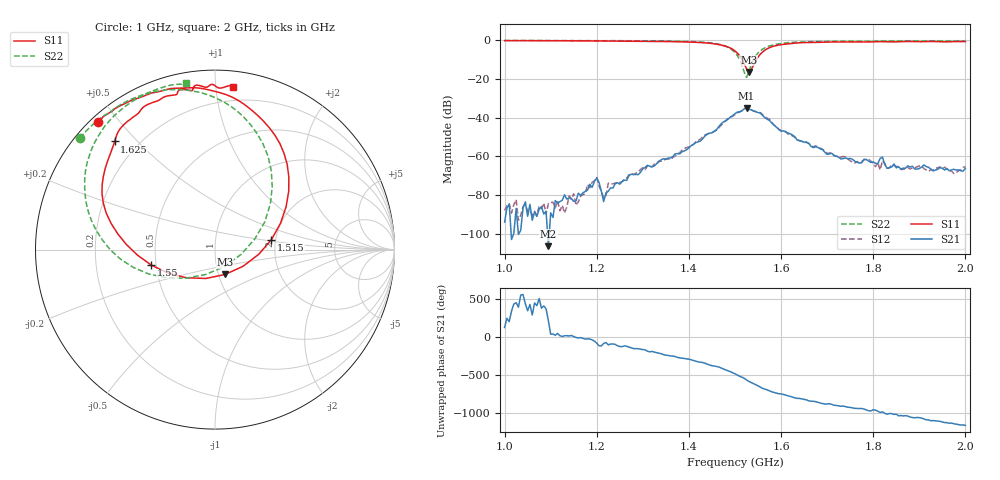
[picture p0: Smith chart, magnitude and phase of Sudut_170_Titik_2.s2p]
# Hz S RI R 50
! CMT, C1220, 16058040, 17.2.0/1
! Date: 14/08/2018 12:47:22
! Data: Format (Calibration Info)
! Freq  S11: Re/Im (F2)  S21: Re/Im (F2)  S12: Re/Im (F2)  S22: Re/Im (F2)
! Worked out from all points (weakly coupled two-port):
!   201 points, 1 GHz to 2 GHz, reference 50 ohm
!   highest |S21| = -35.05 dB at 1.525 GHz (marker M1); lowest = -106.3 dB at 1.095 GHz (marker M2)
!   lowest |S11| = -16.5 dB at 1.53 GHz (marker M3), VSWR 1.35, Z = 53.7 - j15.2 ohm
!   |S11| at or under -10 dB: 1.515 GHz to 1.547 GHz (31.54 MHz wide, 2.06 % of centre)
!   |S22| runs from -19.3 to -0.2 dB; largest |S21 - S12| = 0.00074
!   S11 on the Smith chart (normalised r, x): 1 GHz: 0.02, +0.44; 1.515 GHz: 1.90, +0.24; 1.55 GHz: 0.47, -0.09; 1.625 GHz: 0.12, +0.43; 2 GHz: 0.10, +1.11
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1e9  -0.6516 0.7135  -1.27e-05 1.56e-05  3.4e-05 -2.19e-05  -0.7539 0.6215
1.095e9  -0.5623 0.7815  -3.79e-06 -3.01e-06  4.52e-05 4.11e-05  -0.6858 0.692
1.17e9  -0.4814 0.824  0.000111 -2.76e-05  9.96e-05 -2.86e-05  -0.6184 0.7467
1.2e9  -0.4393 0.8406  6.05e-05 -0.00027  3.73e-05 -0.000283  -0.5851 0.7599
1.22e9  -0.4171 0.8479  4.05e-05 -0.000107  1.49e-05 -9.56e-05  -0.574 0.7739
1.225e9  -0.4087 0.8508  -1.97e-05 -0.000124  1.53e-05 -0.000202  -0.5689 0.779
1.335e9  -0.2193 0.8985  -0.000634 0.000358  -0.000635 0.00042  -0.4042 0.8616
1.45e9  0.1834 0.7938  0.00394 -0.000976  0.00393 -0.00121  0.0192 0.8376
1.5e9  0.4108 0.3258  -0.00619 -0.011  -0.00588 -0.0104  0.3189 0.3518
1.515e9  0.3148 0.0558  -0.0143 -0.00423  -0.0143 -0.00463  0.221 0.0582
1.525e9  0.1564 -0.0929  -0.0165 0.00635  -0.0167 0.0063  0.0527 -0.0947
1.53e9  0.0564 -0.1384  -0.0125 0.0104  -0.0127 0.0104  -0.0539 -0.1391
1.55e9  -0.3541 -0.0869  0.00191 0.0133  0.00137 0.0134  -0.4546 -0.0998
1.58e9  -0.6222 0.2584  0.00723 0.00034  0.00749 3.12e-05  -0.7054 0.2105
1.625e9  -0.5592 0.6025  0.00138 -0.00327  0.00143 -0.00307  -0.7025 0.5167
1.67e9  -0.4453 0.7452  -0.000876 -0.00144  -0.000897 -0.00153  -0.6281 0.6676
1.77e9  -0.2391 0.8598  -0.000548 0.000393  -0.000574 0.000371  -0.472 0.8181
1.815e9  -0.184 0.8931  -1.83e-05 0.000889  3.63e-06 0.000448  -0.4084 0.856
1.82e9  -0.172 0.8923  -0.000162 0.000943  7e-05 0.000774  -0.4016 0.8592
1.835e9  -0.1361 0.8864  0.000105 0.000505  0.000117 0.000489  -0.3815 0.8692
1.975e9  0.0655 0.9098  0.000253 -0.000389  0.000166 -0.00032  -0.1875 0.9207
2e9  0.1015 0.9061  9.3e-05 -0.000484  9.99e-05 -0.000542  -0.1598 0.9298
